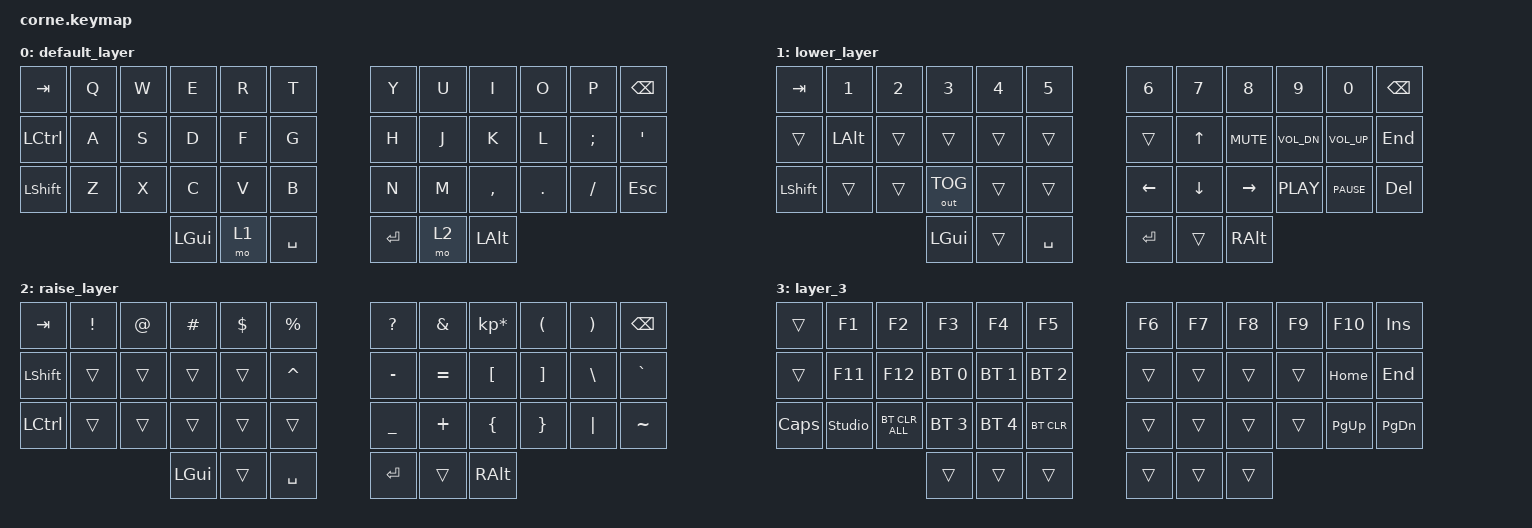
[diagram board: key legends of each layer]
/*
 * Copyright (c) 2020 The ZMK Contributors
 *
 * SPDX-License-Identifier: MIT
 */

#include <behaviors.dtsi>
#include <dt-bindings/zmk/bt.h>
#include <dt-bindings/zmk/keys.h>
#include <dt-bindings/zmk/outputs.h>

/ {
    keymap {
        compatible = "zmk,keymap";

        default_layer {
            // -----------------------------------------------------------------------------------------
            // |  TAB |  Q  |  W  |  E  |  R  |  T  |   |  Y  |  U   |  I  |  O  |  P  | BKSP |
            // | CTRL |  A  |  S  |  D  |  F  |  G  |   |  H  |  J   |  K  |  L  |  ;  |  '   |
            // | SHFT |  Z  |  X  |  C  |  V  |  B  |   |  N  |  M   |  ,  |  .  |  /  | ESC  |
            //                    | GUI | LWR | SPC |   | ENT | RSE  | ALT |

            bindings = <
&kp TAB     &kp Q  &kp W  &kp E     &kp R  &kp T        &kp Y    &kp U  &kp I      &kp O    &kp P     &kp BSPC
&kp LCTRL   &kp A  &kp S  &kp D     &kp F  &kp G        &kp H    &kp J  &kp K      &kp L    &kp SEMI  &kp SQT
&kp LSHIFT  &kp Z  &kp X  &kp C     &kp V  &kp B        &kp N    &kp M  &kp COMMA  &kp DOT  &kp FSLH  &kp ESC
                          &kp LGUI  &mo 1  &kp SPACE    &kp RET  &mo 2  &kp LALT
            >;
        };

        lower_layer {
            // -----------------------------------------------------------------------------------------
            // |  TAB |  1  |  2  |  3  |  4  |  5  |   |  6  |  7  |  8  |  9  |  0  | BKSP |
            // | BTCLR| BT1 | BT2 | BT3 | BT4 | BT5 |   | LFT | DWN |  UP | RGT |     |      |
            // | SHFT |  {  |  }  |  [  |  ]  |     |   |     |     |     |     |     |      |
            //                    | GUI |     | SPC |   | ENT |     | ALT |

            bindings = <
&kp TAB    &kp N1        &kp N2  &kp N3        &kp N4  &kp N5       &kp N6          &kp N7          &kp N8           &kp N9        &kp N0           &kp BACKSPACE
&trans     &kp LEFT_ALT  &trans  &trans        &trans  &trans       &trans          &kp UP_ARROW    &kp C_MUTE       &kp C_VOL_DN  &kp C_VOLUME_UP  &kp END
&kp LSHFT  &trans        &trans  &out OUT_TOG  &trans  &trans       &kp LEFT_ARROW  &kp DOWN_ARROW  &kp RIGHT_ARROW  &kp C_PLAY    &kp C_PAUSE      &kp DELETE
                                 &kp LGUI      &trans  &kp SPACE    &kp RET         &trans          &kp RIGHT_ALT
            >;
        };

        raise_layer {
            // -----------------------------------------------------------------------------------------
            // |  TAB |  !  |  @  |  #  |  $  |  %  |   |  ^  |  &  |  *  |  (  |  )  | BKSP |
            // | CTRL |     |     |     |     |     |   |  -  |  =  |  [  |  ]  |  \  |  `   |
            // | SHFT |     |     |     |     |     |   |  _  |  +  |  {  |  }  | "|" |  ~   |
            //                    | GUI |     | SPC |   | ENT |     | ALT |

            bindings = <
&kp TAB         &kp EXCL  &kp AT  &kp HASH  &kp DLLR  &kp PRCNT    &kp QUESTION  &kp AMPS   &kp KP_MULTIPLY  &kp LPAR  &kp RPAR  &kp BSPC
&kp LEFT_SHIFT  &trans    &trans  &trans    &trans    &kp CARET    &kp MINUS     &kp EQUAL  &kp LBKT         &kp RBKT  &kp BSLH  &kp GRAVE
&kp LCTRL       &trans    &trans  &trans    &trans    &trans       &kp UNDER     &kp PLUS   &kp LBRC         &kp RBRC  &kp PIPE  &kp TILDE
                                  &kp LGUI  &trans    &kp SPACE    &kp RET       &trans     &kp RALT
            >;
        };

        layer_3 {
            bindings = <
&trans        &kp F1          &kp F2          &kp F3        &kp F4        &kp F5          &kp F6  &kp F7  &kp F8  &kp F9  &kp F10      &kp INSERT
&trans        &kp F11         &kp F12         &bt BT_SEL 0  &bt BT_SEL 1  &bt BT_SEL 2    &trans  &trans  &trans  &trans  &kp HOME     &kp END
&kp CAPSLOCK  &studio_unlock  &bt BT_CLR_ALL  &bt BT_SEL 3  &bt BT_SEL 4  &bt BT_CLR      &trans  &trans  &trans  &trans  &kp PAGE_UP  &kp PAGE_DOWN
                                              &trans        &trans        &trans          &trans  &trans  &trans
            >;
        };
    };

    conditional_layers {
        compatible = "zmk,conditional-layers";

        functions {
            if-layers = <1 2>;
            then-layer = <3>;
        };
    };
};
